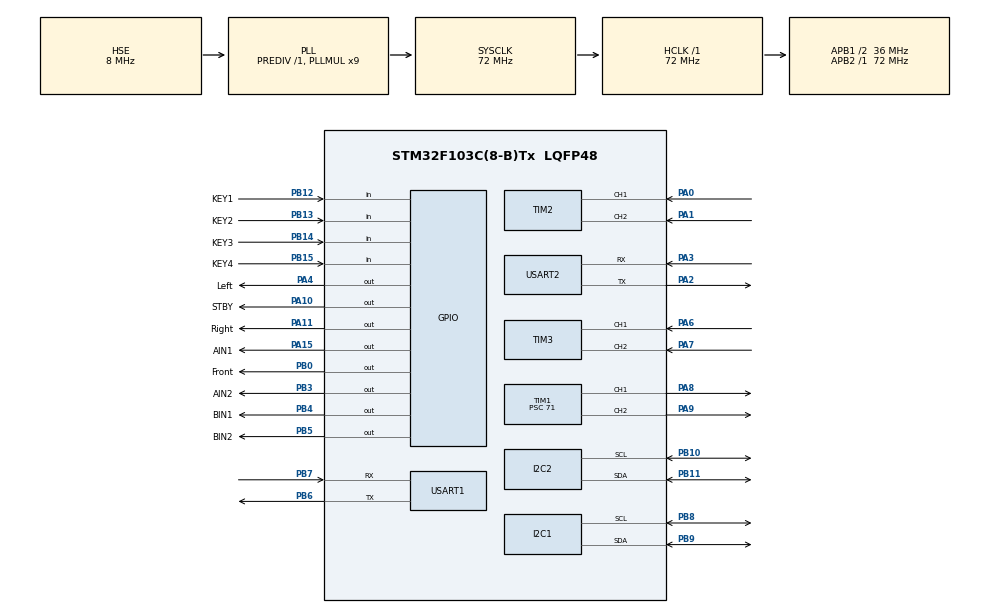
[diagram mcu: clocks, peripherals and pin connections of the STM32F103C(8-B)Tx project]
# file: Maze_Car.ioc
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Dma.Request0=USART1_RX
Dma.USART1_RX.0.Direction=DMA_PERIPH_TO_MEMORY
Dma.USART1_RX.0.Instance=DMA1_Channel5
Dma.USART1_RX.0.MemDataAlignment=DMA_MDATAALIGN_BYTE
Dma.USART1_RX.0.MemInc=DMA_MINC_ENABLE
Dma.USART1_RX.0.Mode=DMA_CIRCULAR
Dma.USART1_RX.0.PeriphDataAlignment=DMA_PDATAALIGN_BYTE
Dma.USART1_RX.0.PeriphInc=DMA_PINC_DISABLE
Dma.USART1_RX.0.Priority=DMA_PRIORITY_MEDIUM
Mcu.Family=STM32F1
Mcu.Name=STM32F103C(8-B)Tx
Mcu.Package=LQFP48
NVIC.DMA1_Channel5_IRQn=true\:0\:0\:false\:false\:true\:false\:true\:true
NVIC.PriorityGroup=NVIC_PRIORITYGROUP_4
NVIC.TIM4_IRQn=true\:0\:0\:false\:false\:true\:true\:true\:true
NVIC.USART1_IRQn=true\:0\:0\:false\:false\:true\:true\:true\:true
NVIC.USART2_IRQn=true\:0\:0\:false\:false\:true\:true\:true\:true
PA0-WKUP.Signal=S_TIM2_CH1_ETR
PA1.Signal=S_TIM2_CH2
PA10.GPIO_Label=STBY
PA10.Signal=GPIO_Output
PA11.GPIO_Label=Right
PA11.Signal=GPIO_Output
PA13.Mode=Serial_Wire
PA13.Signal=SYS_JTMS-SWDIO
PA14.Mode=Serial_Wire
PA14.Signal=SYS_JTCK-SWCLK
PA15.GPIO_Label=AIN1
PA15.GPIO_Speed=GPIO_SPEED_FREQ_HIGH
PA15.PinState=GPIO_PIN_RESET
PA15.Signal=GPIO_Output
PA2.Mode=Asynchronous
PA2.Signal=USART2_TX
PA3.Mode=Asynchronous
PA3.Signal=USART2_RX
PA4.GPIO_Label=Left
PA4.Signal=GPIO_Output
PA6.Signal=S_TIM3_CH1
PA7.Signal=S_TIM3_CH2
PA8.Signal=S_TIM1_CH1
PA9.Signal=S_TIM1_CH2
PB0.GPIO_Label=Front
PB0.Signal=GPIO_Output
PB10.Mode=I2C
PB10.Signal=I2C2_SCL
PB11.Mode=I2C
PB11.Signal=I2C2_SDA
PB12.GPIO_Label=KEY1
PB12.GPIO_PuPd=GPIO_PULLUP
PB12.Signal=GPIO_Input
PB13.GPIO_Label=KEY2
PB13.GPIO_PuPd=GPIO_PULLUP
PB13.Signal=GPIO_Input
PB14.GPIO_Label=KEY3
PB14.GPIO_PuPd=GPIO_PULLUP
PB14.Signal=GPIO_Input
PB15.GPIO_Label=KEY4
PB15.GPIO_PuPd=GPIO_PULLUP
PB15.Signal=GPIO_Input
PB3.GPIO_Label=AIN2
PB3.GPIO_Speed=GPIO_SPEED_FREQ_HIGH
PB3.PinState=GPIO_PIN_RESET
PB3.Signal=GPIO_Output
PB4.GPIO_Label=BIN1
PB4.GPIO_Speed=GPIO_SPEED_FREQ_HIGH
PB4.Signal=GPIO_Output
PB5.GPIO_Label=BIN2
PB5.GPIO_Speed=GPIO_SPEED_FREQ_HIGH
PB5.Signal=GPIO_Output
PB6.Mode=Asynchronous
PB6.Signal=USART1_TX
PB7.Mode=Asynchronous
PB7.Signal=USART1_RX
PB8.Mode=I2C
PB8.Signal=I2C1_SCL
PB9.Mode=I2C
PB9.Signal=I2C1_SDA
PC14-OSC32_IN.Mode=LSE-External-Oscillator
PC14-OSC32_IN.Signal=RCC_OSC32_IN
PC15-OSC32_OUT.Mode=LSE-External-Oscillator
PC15-OSC32_OUT.Signal=RCC_OSC32_OUT
PD0-OSC_IN.Mode=HSE-External-Oscillator
PD0-OSC_IN.Signal=RCC_OSC_IN
PD1-OSC_OUT.Mode=HSE-External-Oscillator
PD1-OSC_OUT.Signal=RCC_OSC_OUT
ProjectManager.HeapSize=0x200
ProjectManager.StackSize=0x400
ProjectManager.TargetToolchain=MDK-ARM V5.32
RCC.AHBFreq_Value=72000000
RCC.APB1CLKDivider=RCC_HCLK_DIV2
RCC.APB1Freq_Value=36000000
RCC.APB1TimFreq_Value=72000000
RCC.APB2Freq_Value=72000000
RCC.APB2TimFreq_Value=72000000
RCC.HCLKFreq_Value=72000000
RCC.PLLMUL=RCC_PLL_MUL9
RCC.PLLSourceVirtual=RCC_PLLSOURCE_HSE
RCC.SYSCLKFreq_VALUE=72000000
RCC.SYSCLKSource=RCC_SYSCLKSOURCE_PLLCLK
RCC.USBFreq_Value=72000000
SH.S_TIM1_CH1.0=TIM1_CH1,PWM Generation1 CH1
SH.S_TIM1_CH2.0=TIM1_CH2,PWM Generation2 CH2
SH.S_TIM2_CH1_ETR.0=TIM2_CH1,Encoder_Interface
SH.S_TIM2_CH2.0=TIM2_CH2,Encoder_Interface
SH.S_TIM3_CH1.0=TIM3_CH1,Encoder_Interface
SH.S_TIM3_CH2.0=TIM3_CH2,Encoder_Interface
TIM1.AutoReloadPreload=TIM_AUTORELOAD_PRELOAD_ENABLE
TIM1.Channel-PWM\ Generation1\ CH1=TIM_CHANNEL_1
TIM1.Channel-PWM\ Generation2\ CH2=TIM_CHANNEL_2
TIM1.Period=99
TIM1.Prescaler=71
TIM4.AutoReloadPreload=TIM_AUTORELOAD_PRELOAD_ENABLE
TIM4.Period=999
TIM4.Prescaler=71
USART1.VirtualMode=VM_ASYNC
USART2.VirtualMode=VM_ASYNC
VP_TIM1_VS_ClockSourceINT.Mode=Internal
VP_TIM4_VS_ClockSourceINT.Mode=Internal
board=custom

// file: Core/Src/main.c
/* USER CODE BEGIN Header */
/**
  ******************************************************************************
  * @file           : main.c
  * @brief          : Main program body
  ******************************************************************************
  * @attention
  *
  * Copyright (c) 2025 STMicroelectronics.
  * All rights reserved.
  *
  * This software is licensed under terms that can be found in the LICENSE file
  * in the root directory of this software component.
  * If no LICENSE file comes with this software, it is provided AS-IS.
  *
  ******************************************************************************
  */
/* USER CODE END Header */
#include "main.h"
#include "dma.h"
#include "i2c.h"
#include "tim.h"
#include "usart.h"
#include "gpio.h"

/* USER CODE BEGIN Includes */
#include "motor.h"
#include "oled.h"
#include "stdio.h"
#include "app_key.h"
#include "pid.h"
#include "math.h"
#include "wit.h"
#include "VL6180X.h"
#include "maze.h"
/* USER CODE END Includes */

/* USER CODE BEGIN PV */
uint8_t oled_buffer[32]; // Declare the buffer for OLED display
uint8_t key_val = 0;
uint32_t Uart_Test = 0;
uint8_t uart_buffer[64];
uint8_t range_front = 0;
uint8_t range_left = 0;
uint8_t range_right = 0;
uint8_t g_need_read_tof;
/* USER CODE END PV */

void SystemClock_Config(void);

/* USER CODE BEGIN 0 */
void OLED_Display(void);
int fputc(int ch, FILE *f)
{
HAL_UART_Transmit(&huart2, (uint8_t *)&ch, 1, 10);
	return ch;
}
/* USER CODE END 0 */

int main(void)
{

  /* MCU Configuration--------------------------------------------------------*/

  /* Reset of all peripherals, Initializes the Flash interface and the Systick. */
  HAL_Init();

  /* Configure the system clock */
  SystemClock_Config();

  /* Initialize all configured peripherals */
  MX_GPIO_Init();
  MX_DMA_Init();
  MX_TIM1_Init();
  MX_TIM2_Init();
  MX_TIM3_Init();
  MX_I2C1_Init();
  MX_TIM4_Init();
  MX_USART1_UART_Init();
  MX_I2C2_Init();
  MX_USART2_UART_Init();
  /* USER CODE BEGIN 2 */
	Motor_Init();
	Encoder_Init();
	OLED_Init(); // Initialize OLED display
  OLED_Clear(); // Clear the OLED display
	WIT_Init(); // Initialize the WIT sensor
	VL6180X_Init_3Modules();
	//HAL_GPIO_WritePin(GPIOB, GPIO_PIN_0, GPIO_PIN_SET);
	Motor_On();
	PID_Motor_Init(); // Initialize PID for motors
	HAL_TIM_Base_Start_IT(&htim4); // Start the timer for speed calculation
	/*
	// 1. 检查设备是否应答
  if (HAL_I2C_IsDeviceReady(&hi2c2, 0x29 << 1, 2, 50) == HAL_OK)
      printf("Device 0x29 OK\r\n");
  else {
      printf("Device 0x29 NOT found!\r\n");
      while (1);
  }

  // 2. 读取芯片 ID（期望 0xB4）
  uint8_t id = VL6180X_Read_ID(0x29);
  printf("Chip ID = 0x%02X\r\n", id);
  HAL_Delay(50);

  // 3. 初始化（加载寄存器表）
  if (VL6180X_Init(0x29) == 0)
      printf("VL6180X init OK\r\n");
  else
      printf("VL6180X init FAIL\r\n");
	*/
  /* USER CODE END 2 */

  /* Infinite loop */
  /* USER CODE BEGIN WHILE */
  while (1)
  {
		key_val = key_get_value(); // Get the key value
    app_key_handler(key_val);
		OLED_Display();
		if (g_need_read_tof) {
        g_need_read_tof = 0;
			/*
        uint8_t d_front = VL6180X_Read_Range(0x29); // Front：7bit=0x29 → 8bit=0x52
				uint8_t d_left  = VL6180X_Read_Range(0x2A); // Left ：7bit=0x2A → 8bit=0x54
				uint8_t d_right = VL6180X_Read_Range(0x2B); // Right：7bit=0x2B → 8bit=0x56

    printf("F=%3u  L=%3u  R=%3u mm\r\n", d_front, d_left, d_right);
        // 如需调试：printf("Front: %u mm\r\n", range_front);
			*/
			int rc;

			rc = VL6180X_ReadRange_Safe(0x29, &range_front);
			if (rc != 0) range_front = 255;  // 读失败就当很远

			rc = VL6180X_ReadRange_Safe(0x2A, &range_left);
			if (rc != 0) range_left = 255;

			rc = VL6180X_ReadRange_Safe(0x2B, &range_right);
			if (rc != 0) range_right = 255;

			// 把一次三方向原始数据“喂”给迷宫模块做滤波、判墙
			Maze_OnTofUpdate(range_front, range_left, range_right);
			if (rc != 0) range_right = 255;
			printf("F=%3u  L=%3u  R=%3u mm\r\n", range_front, range_left, range_right);
    }
		if (g_current_mode == MODE_MAZE_TEST)
    {
        Maze_Hardcoded_Task();
    }
		//Maze_Task();
    /* USER CODE END WHILE */

  }
}

void SystemClock_Config(void)
{
  RCC_OscInitTypeDef RCC_OscInitStruct = {0};
  RCC_ClkInitTypeDef RCC_ClkInitStruct = {0};

  /** Initializes the RCC Oscillators according to the specified parameters
  * in the RCC_OscInitTypeDef structure.
  */
  RCC_OscInitStruct.OscillatorType = RCC_OSCILLATORTYPE_HSE;
  RCC_OscInitStruct.HSEState = RCC_HSE_ON;
  RCC_OscInitStruct.HSEPredivValue = RCC_HSE_PREDIV_DIV1;
  RCC_OscInitStruct.HSIState = RCC_HSI_ON;
  RCC_OscInitStruct.PLL.PLLState = RCC_PLL_ON;
  RCC_OscInitStruct.PLL.PLLSource = RCC_PLLSOURCE_HSE;
  RCC_OscInitStruct.PLL.PLLMUL = RCC_PLL_MUL9;
  if (HAL_RCC_OscConfig(&RCC_OscInitStruct) != HAL_OK)
  {
    Error_Handler();
  }

  /** Initializes the CPU, AHB and APB buses clocks
  */
  RCC_ClkInitStruct.ClockType = RCC_CLOCKTYPE_HCLK|RCC_CLOCKTYPE_SYSCLK
                              |RCC_CLOCKTYPE_PCLK1|RCC_CLOCKTYPE_PCLK2;
  RCC_ClkInitStruct.SYSCLKSource = RCC_SYSCLKSOURCE_PLLCLK;
  RCC_ClkInitStruct.AHBCLKDivider = RCC_SYSCLK_DIV1;
  RCC_ClkInitStruct.APB1CLKDivider = RCC_HCLK_DIV2;
  RCC_ClkInitStruct.APB2CLKDivider = RCC_HCLK_DIV1;

  if (HAL_RCC_ClockConfig(&RCC_ClkInitStruct, FLASH_LATENCY_2) != HAL_OK)
  {
    Error_Handler();
  }
}

/* USER CODE BEGIN 4 */
void HAL_TIM_PeriodElapsedCallback(TIM_HandleTypeDef *htim)
{
  if(htim->Instance == TIM4){
    static uint16_t count = 0;
    static uint16_t line_count = 0;
    static int16_t last_raw_A = 0;     // 上次的编码器A原始值
    static int16_t last_raw_B = 0;     // 上次的编码器B原始值

    if(++count >= 20)
  {
        count = 0;
        //HAL_GPIO_TogglePin(GPIOB, GPIO_PIN_2); // Toggle an LED for debugging

        // 获取当前编码器值
        Encoder_GetValue();

        // 计算速度 (每个采样周期的位移)
        speed_A_fu = g_encoder_A - last_raw_A;
        speed_B = g_encoder_B - last_raw_B;
        speed_A = -speed_A_fu;
        // 处理速度计算时的溢出情况
        if(speed_A > 32768) speed_A -= 65536;
        else if(speed_A < -32768) speed_A += 65536;

        if(speed_B > 32768) speed_B -= 65536;
        else if(speed_B < -32768) speed_B += 65536;

				Maze_Odom_Update((int16_t)speed_A, (int16_t)speed_B);

        // 更新上次值，为下次计算做准备
        last_raw_A = g_encoder_A;
        last_raw_B = g_encoder_B;

				switch (g_motor_state)
        {
            case MOTOR_STATE_IDLE:
                // 空闲状态，什么也不做
                break;

            case MOTOR_STATE_RUNNING:
                // 运行状态，执行PID闭环控制
                // 注意: 此处应该调用你封装好的PID控制函数
                // --- 【核心修改】根据模式调用不同的控制循环 ---
                switch(g_motion_mode)
                {
                    case MOTION_MODE_SPEED_ONLY:
                        ControlLoop_SpeedOnly();
                        break;
                    case MOTION_MODE_DIFFERENTIAL:
                        ControlLoop_Differential();
                        break;
										 case MOTION_MODE_YAW_CORRECTED:
                        ControlLoop_YawCorrected();
                        break;
                    case MOTION_MODE_YAW_STRAIGHT:
                        ControlLoop_YawStraight();
                        break;
                }
                break;
        }

    }
		if(++line_count >= 50)
		{
			line_count = 0;
			g_need_read_tof = 1;   // 通知主循环去读
		}
  }
}

void OLED_Display(void)
{
  static uint32_t oled_ms = 0;
  static char oled_buffer[32]; // ���� sprintf �Ļ�����

   // 这个静态变量用来记录上次显示时所处的模式
  static KeyAppMode_t last_display_mode = -1; // 初始化为一个无效模式
    if(HAL_GetTick() - oled_ms >= 200) // 每100ms更新一次OLED
    {
        oled_ms = HAL_GetTick();

        // **核心技巧: 如果模式发生了变化，就清屏一次**
        if (g_current_mode != last_display_mode) {
          OLED_Clear(); // 清除屏幕，防止内容重叠
          last_display_mode = g_current_mode; // 更新模式记录
      }

      // 根据当前模式，显示不同的界面
      switch (g_current_mode)
      {
          case MODE_NORMAL_OPERATION:
          {

							if (g_motion_mode == MOTION_MODE_YAW_CORRECTED)
              {
                  OLED_ShowString(0, 0, "Yaw:Turn", 16);
              }
              // 【新增】为新模式增加显示
              else if (g_motion_mode == MOTION_MODE_YAW_STRAIGHT)
              {
                  OLED_ShowString(0, 0, "Yaw:Straight", 16);
              }
              else if (g_motion_mode == MOTION_MODE_DIFFERENTIAL)
              {
                  OLED_ShowString(0, 0, "DIFFERENTIAL", 16);
              }
              else if(g_motion_mode == MOTION_MODE_SPEED_ONLY) {
                OLED_ShowString(0, 0, "SPEED_ONLY", 16); // 显示当前模式
              }

              // 这是你的“正常运行模式”，显示速度
              //OLED_ShowString(0, 0, "Mode: Normal", 16); // 显示当前模式
              sprintf(oled_buffer, "SpA:%3d", speed_A);
              OLED_ShowString(0, 2, (uint8_t*)oled_buffer, 16);
              sprintf(oled_buffer, "SpB:%3d", speed_B);
              OLED_ShowString(65, 2, (uint8_t*)oled_buffer, 16);
              sprintf(oled_buffer, "Yaw:%6.2f", g_wit_data.yaw);
              OLED_ShowString(0, 4, (uint8_t*)oled_buffer, 16);

							sprintf(oled_buffer, "R%3d L%3d F%3d", range_right, range_left, range_front);
							OLED_ShowString(0, 6, (uint8_t*)oled_buffer, 16);

              break;
          }

          case MODE_TUNE_MOTOR_A:
          {
              // 这是“电机A调参模式”，显示PID参数
              OLED_ShowString(0, 0, "Tune Motor A", 16);
              if (g_motion_mode == MOTION_MODE_YAW_CORRECTED)
              {
                  OLED_ShowString(0, 2, "Yaw:Turn", 16);
              }
              // 【新增】为新模式增加显示
              else if (g_motion_mode == MOTION_MODE_YAW_STRAIGHT)
              {
                  OLED_ShowString(0, 2, "Yaw:Straight", 16);
              }
              else if (g_motion_mode == MOTION_MODE_DIFFERENTIAL)
              {
                  OLED_ShowString(0, 2, "DIFFERENTIAL", 16);
              }
              else if(g_motion_mode == MOTION_MODE_SPEED_ONLY) {
                OLED_ShowString(0, 2, "SPEED_ONLY", 16); // 显示当前模式
              }
							sprintf(oled_buffer, "Yaw:%6.2f", g_wit_data.yaw);
              OLED_ShowString(0, 4, (uint8_t*)oled_buffer, 16);
							sprintf(oled_buffer, "P%.2f", g_yaw_angle_pid.kp);
              OLED_ShowString(0, 6, (uint8_t*)oled_buffer, 16);
              sprintf(oled_buffer, "I%.2f", g_yaw_angle_pid.ki);
              OLED_ShowString(40, 6, (uint8_t*)oled_buffer, 16);
              sprintf(oled_buffer, "D%.2f", g_yaw_angle_pid.kd);
              OLED_ShowString(80, 6, (uint8_t*)oled_buffer, 16);
              break;
          }

          case MODE_MAZE_TEST:
          {
              // “电机B调参模式”
              OLED_ShowString(0, 0, "Maze", 16);
							sprintf(oled_buffer, "TF:%1d", g_turn_complete);
              OLED_ShowString(50, 0, (uint8_t*)oled_buffer, 16);
              sprintf(oled_buffer, "SpA:%3d", speed_A);
              OLED_ShowString(0, 2, (uint8_t*)oled_buffer, 16);
              sprintf(oled_buffer, "SpB:%3d", speed_B);
              OLED_ShowString(65, 2, (uint8_t*)oled_buffer, 16);
              sprintf(oled_buffer, "Yaw:%6.2f", g_wit_data.yaw);
              OLED_ShowString(0, 4, (uint8_t*)oled_buffer, 16);

							sprintf(oled_buffer, "R%3d L%3d F%3d", range_right, range_left, range_front);
							OLED_ShowString(0, 6, (uint8_t*)oled_buffer, 16);
              break;
          }

          default:
          {
              // 默认情况，可以显示一个错误或未知状态
              OLED_ShowString(0, 0, "Unknown Mode!", 16);
              break;
          }
      }
    }
}

/* USER CODE END 4 */

void Error_Handler(void)
{
  __disable_irq();
  while (1)
  {
  }
}
